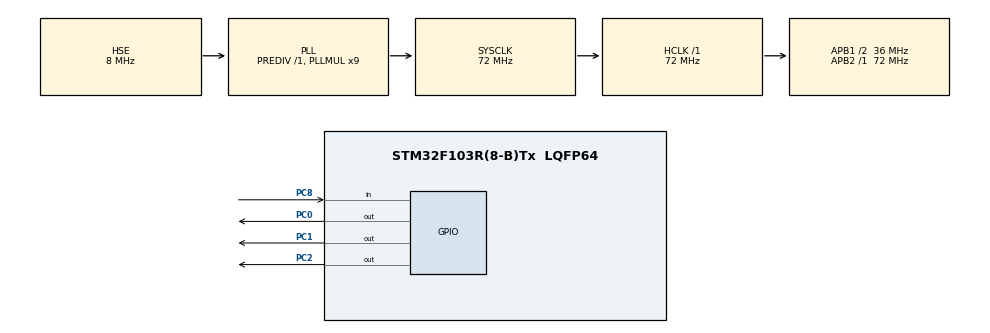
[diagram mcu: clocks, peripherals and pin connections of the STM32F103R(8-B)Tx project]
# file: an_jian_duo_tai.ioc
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Mcu.Family=STM32F1
Mcu.Name=STM32F103R(8-B)Tx
Mcu.Package=LQFP64
NVIC.PriorityGroup=NVIC_PRIORITYGROUP_4
PA13.Mode=Serial_Wire
PA13.Signal=SYS_JTMS-SWDIO
PA14.Mode=Serial_Wire
PA14.Signal=SYS_JTCK-SWCLK
PC0.PinState=GPIO_PIN_SET
PC0.Signal=GPIO_Output
PC1.PinState=GPIO_PIN_SET
PC1.Signal=GPIO_Output
PC14-OSC32_IN.Mode=LSE-External-Oscillator
PC14-OSC32_IN.Signal=RCC_OSC32_IN
PC15-OSC32_OUT.Mode=LSE-External-Oscillator
PC15-OSC32_OUT.Signal=RCC_OSC32_OUT
PC2.PinState=GPIO_PIN_SET
PC2.Signal=GPIO_Output
PC8.GPIO_PuPd=GPIO_PULLUP
PC8.Signal=GPIO_Input
PD0-OSC_IN.Mode=HSE-External-Oscillator
PD0-OSC_IN.Signal=RCC_OSC_IN
PD1-OSC_OUT.Mode=HSE-External-Oscillator
PD1-OSC_OUT.Signal=RCC_OSC_OUT
ProjectManager.HeapSize=0x200
ProjectManager.StackSize=0x400
ProjectManager.TargetToolchain=MDK-ARM V5
RCC.AHBFreq_Value=72000000
RCC.APB1CLKDivider=RCC_HCLK_DIV2
RCC.APB1Freq_Value=36000000
RCC.APB1TimFreq_Value=72000000
RCC.APB2Freq_Value=72000000
RCC.APB2TimFreq_Value=72000000
RCC.HCLKFreq_Value=72000000
RCC.PLLMUL=RCC_PLL_MUL9
RCC.PLLSourceVirtual=RCC_PLLSOURCE_HSE
RCC.SYSCLKFreq_VALUE=72000000
RCC.SYSCLKSource=RCC_SYSCLKSOURCE_PLLCLK
RCC.USBFreq_Value=72000000
board=custom

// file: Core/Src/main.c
/* USER CODE BEGIN Header */
/**
  ******************************************************************************
  * @file           : main.c
  * @brief          : Main program body
  ******************************************************************************
  * @attention
  *
  * <h2><center>&copy; Copyright (c) 2023 STMicroelectronics.
  * All rights reserved.</center></h2>
  *
  * This software component is licensed by ST under BSD 3-Clause license,
  * the "License"; You may not use this file except in compliance with the
  * License. You may obtain a copy of the License at:
  *                        opensource.org/licenses/BSD-3-Clause
  *
  ******************************************************************************
  */
/* USER CODE END Header */

#include "main.h"
#include "gpio.h"

/* USER CODE BEGIN Includes */
#define KEY0 HAL_GPIO_ReadPin(GPIOC,GPIO_PIN_8 )
void key_detection() {
    uint16_t a = 0, b = 1, double_press_interval = 0;
    uint8_t key_pressed = 0;

    // 检测按键是否按下
    if (KEY0 == 0) {
        HAL_Delay(20); // 防抖
        if (KEY0 == 0) {
            key_pressed = 1; // 标记按键已按下
            while (KEY0 == 0) { // 检测按键是否持续按下
                a++;
                HAL_Delay(100);
            }

            // 检测是否是长按
            if (a > 10) {
                HAL_GPIO_TogglePin(GPIOC, GPIO_PIN_0); // 长按后要执行的函数
                key_pressed = 0; // 重置按键状态
            }
        }
    }

    // 如果是短按，检测是否有第二次按下（双击）
    if (key_pressed) {
        for (a = 0; a < 10; a++) {
            HAL_Delay(20);
            if (KEY0 == 0) {
                HAL_Delay(20);
                if (KEY0 == 0) {
                    double_press_interval = 0;
                    while (KEY0 == 0) { // 等待第二次按键释放
                        double_press_interval++;
                        HAL_Delay(100);
                    }

                    if (double_press_interval < 10) { // 检测双击
                        HAL_GPIO_TogglePin(GPIOC, GPIO_PIN_2); // 双击按键
                        key_pressed = 0; // 重置按键状态
                        break;
                    }
                }
            }
        }

        // 如果不是双击，则是短按
        if (key_pressed) {
            HAL_GPIO_TogglePin(GPIOC, GPIO_PIN_1); // 短按要执行的函数
        }
    }
}

/* USER CODE END Includes */

void SystemClock_Config(void);

int main(void)
{

  /* MCU Configuration--------------------------------------------------------*/

  /* Reset of all peripherals, Initializes the Flash interface and the Systick. */
  HAL_Init();

  /* Configure the system clock */
  SystemClock_Config();

  /* Initialize all configured peripherals */
  MX_GPIO_Init();

  /* Infinite loop */
  while (1)
  {

    /* USER CODE BEGIN 3 */
	  key_detection() ;

  }
  /* USER CODE END 3 */
}

void SystemClock_Config(void)
{
  RCC_OscInitTypeDef RCC_OscInitStruct = {0};
  RCC_ClkInitTypeDef RCC_ClkInitStruct = {0};

  /** Initializes the CPU, AHB and APB busses clocks
  */
  RCC_OscInitStruct.OscillatorType = RCC_OSCILLATORTYPE_HSE;
  RCC_OscInitStruct.HSEState = RCC_HSE_ON;
  RCC_OscInitStruct.HSEPredivValue = RCC_HSE_PREDIV_DIV1;
  RCC_OscInitStruct.HSIState = RCC_HSI_ON;
  RCC_OscInitStruct.PLL.PLLState = RCC_PLL_ON;
  RCC_OscInitStruct.PLL.PLLSource = RCC_PLLSOURCE_HSE;
  RCC_OscInitStruct.PLL.PLLMUL = RCC_PLL_MUL9;
  if (HAL_RCC_OscConfig(&RCC_OscInitStruct) != HAL_OK)
  {
    Error_Handler();
  }
  /** Initializes the CPU, AHB and APB busses clocks
  */
  RCC_ClkInitStruct.ClockType = RCC_CLOCKTYPE_HCLK|RCC_CLOCKTYPE_SYSCLK
                              |RCC_CLOCKTYPE_PCLK1|RCC_CLOCKTYPE_PCLK2;
  RCC_ClkInitStruct.SYSCLKSource = RCC_SYSCLKSOURCE_PLLCLK;
  RCC_ClkInitStruct.AHBCLKDivider = RCC_SYSCLK_DIV1;
  RCC_ClkInitStruct.APB1CLKDivider = RCC_HCLK_DIV2;
  RCC_ClkInitStruct.APB2CLKDivider = RCC_HCLK_DIV1;

  if (HAL_RCC_ClockConfig(&RCC_ClkInitStruct, FLASH_LATENCY_2) != HAL_OK)
  {
    Error_Handler();
  }
}

void Error_Handler(void)
{
}

/************************ (C) COPYRIGHT STMicroelectronics *****END OF FILE****/
